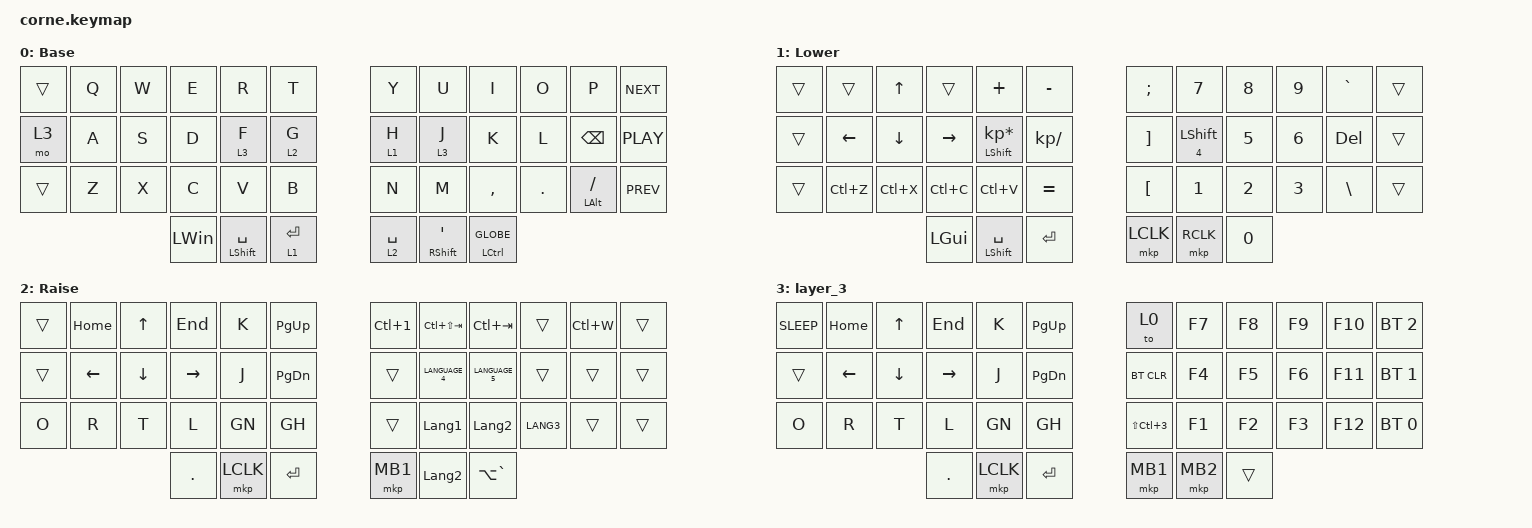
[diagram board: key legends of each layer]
/*
 * Copyright (c) 2020 The ZMK Contributors
 *
 * SPDX-License-Identifier: MIT
 */

#include <behaviors.dtsi>
#include <dt-bindings/zmk/bt.h>
#include <dt-bindings/zmk/keys.h>
#include <dt-bindings/zmk/mouse.h>

/ {
    combos {
        compatible = "zmk,combos";

        minus {
            bindings = <&kp MINUS>;
            key-positions = <21 22>;
        };

        langKREN {
            bindings = <&kp RIGHT_ALT>;
            key-positions = <32 33>;
        };

        langJP {
            bindings = <&kp LG(SPACE)>;
            key-positions = <33 34>;
        };

        bkslash {
            bindings = <&kp BACKSLASH>;
            key-positions = <34 21>;
        };

        equal {
            bindings = <&kp EQUAL>;
            key-positions = <22 34>;
        };

        tolayer0 {
            bindings = <&to 0>;
            key-positions = <6 30>;
        };

        bs {
            bindings = <&kp BACKSPACE>;
            key-positions = <10 9>;
        };

        Exclamation {
            bindings = <&kp EXCLAMATION>;
            key-positions = <38 39>;
        };

        layer1 {
            bindings = <&tog 1>;
            key-positions = <7 18>;
        };

        layer2 {
            bindings = <&tog 2>;
            key-positions = <8 18>;
        };

        layer4 {
            bindings = <&tog 3>;
            key-positions = <9 18>;
        };

        bl0 {
            bindings = <&bt BT_SEL 0>;
            key-positions = <4 17>;
        };

        bl1 {
            bindings = <&bt BT_SEL 1>;
            key-positions = <3 17>;
        };

        bl2 {
            bindings = <&bt BT_SEL 2>;
            key-positions = <2 17>;
        };

        caps {
            bindings = <&kp CAPS>;
            key-positions = <1 13>;
        };

        tab {
            bindings = <&kp TAB>;
            key-positions = <13 14>;
        };

        esc {
            bindings = <&kp ESCAPE>;
            key-positions = <2 1>;
        };

        left_BS {
            bindings = <&kp BACKSPACE>;
            key-positions = <29 28>;
        };

        right_DEL {
            bindings = <&kp DEL>;
            key-positions = <31 30>;
        };

        blt_reset {
            bindings = <&bt BT_CLR>;
            key-positions = <5 29>;
        };
    };

    macros {
        GH: GH {
            compatible = "zmk,behavior-macro";
            #binding-cells = <0>;
            bindings = <&sk G &kp H>;
            label = "GH";
        };

        GN: GN {
            compatible = "zmk,behavior-macro";
            #binding-cells = <0>;
            bindings = <&sk G &kp N>;
            label = "GN";
        };
    };

    keymap {
        compatible = "zmk,keymap";

        default_layer {
            // -----------------------------------------------------------------------------------------
            // |  TAB |  Q  |  W  |  E  |  R  |  T  |   |  Y  |  U   |  I  |  O  |  P  | BKSP |
            // | CTRL |  A  |  S  |  D  |  F  |  G  |   |  H  |  J   |  K  |  L  |  ;  |  '   |
            // | SHFT |  Z  |  X  |  C  |  V  |  B  |   |  N  |  M   |  ,  |  .  |  /  | ESC  |
            //                    | GUI | LWR | SPC |   | ENT | RSE  | ALT |

            display-name = "Base";
            bindings = <
&trans  &kp Q  &kp W  &kp E         &kp R                 &kp T          &kp Y        &kp U                 &kp I            &kp O    &kp P               &kp C_NEXT
&mo 3   &kp A  &kp S  &kp D         &lt 3 F               &lt 2 G        &lt 1 H      &lt 3 J               &kp K            &kp L    &kp BACKSPACE       &kp C_PLAY
&trans  &kp Z  &kp X  &kp C         &kp V                 &kp B          &kp N        &kp M                 &kp COMMA        &kp DOT  &mt LEFT_ALT SLASH  &kp C_PREV
                      &kp LEFT_WIN  &mt LEFT_SHIFT SPACE  &lt 1 ENTER    &lt 2 SPACE  &mt RIGHT_SHIFT APOS  &mt LCTRL GLOBE
            >;
        };

        lower_layer {
            // -----------------------------------------------------------------------------------------
            // |  TAB |  1  |  2  |  3  |  4  |  5  |   |  6  |  7  |  8  |  9  |  0  | BKSP |
            // | BTCLR| BT1 | BT2 | BT3 | BT4 | BT5 |   | LFT | DWN |  UP | RGT |     |      |
            // | SHFT |     |     |     |     |     |   |     |     |     |     |     |      |
            //                    | GUI |     | SPC |   | ENT |     | ALT |

            display-name = "Lower";
            bindings = <
&trans  &trans     &kp UP_ARROW    &trans     &kp PLUS                    &kp MINUS        &kp SEMICOLON      &kp N7                   &kp N8        &kp N9        &kp GRAVE      &trans
&trans  &kp LEFT   &kp DOWN_ARROW  &kp RIGHT  &mt LEFT_SHIFT KP_ASTERISK  &kp KP_DIVIDE    &kp RIGHT_BRACKET  &mt NUMBER_4 LEFT_SHIFT  &kp NUMBER_5  &kp NUMBER_6  &kp DEL        &trans
&trans  &kp LC(Z)  &kp LC(X)       &kp LC(C)  &kp LC(V)                   &kp EQUAL        &kp LEFT_BRACKET   &kp NUMBER_1             &kp NUMBER_2  &kp NUMBER_3  &kp BACKSLASH  &trans
                                   &kp LGUI   &mt LEFT_SHIFT SPACE        &kp ENTER        &mkp LCLK          &mkp RCLK                &kp NUMBER_0
            >;
        };

        raise_layer {
            // -----------------------------------------------------------------------------------------
            // |  TAB |  !  |  @  |  #  |  $  |  %  |   |  ^  |  &  |  *  |  (  |  )  | BKSP |
            // | CTRL |     |     |     |     |     |   |  -  |  =  |  [  |  ]  |  \  |  `   |
            // | SHFT |     |     |     |     |     |   |  _  |  +  |  {  |  }  | "|" |  ~   |
            //                    | GUI |     | SPC |   | ENT |     | ALT |

            display-name = "Raise";
            bindings = <
&trans  &kp HOME  &kp UP_ARROW  &kp END     &kp K      &kp PG_UP    &kp LC(NUMBER_1)  &kp LC(LS(TAB))  &kp LC(TAB)     &trans     &kp LC(W)  &trans
&trans  &kp LEFT  &kp DOWN      &kp RIGHT   &kp J      &kp PG_DN    &trans            &kp LANGUAGE_4   &kp LANGUAGE_5  &trans     &trans     &trans
&kp O   &kp R     &kp T         &kp L       &GN        &GH          &trans            &kp LANGUAGE_1   &kp LANGUAGE_2  &kp LANG3  &trans     &trans
                                &kp PERIOD  &mkp LCLK  &kp ENTER    &mkp MB1          &kp LANGUAGE_2   &kp LA(GRAVE)
            >;
        };

        layer_3 {
            bindings = <
&kp C_SLEEP  &kp HOME        &kp UP    &kp END     &kp K      &kp PG_UP    &to 0                 &kp F7    &kp F8  &kp F9  &kp F10  &bt BT_SEL 2
&trans       &kp LEFT_ARROW  &kp DOWN  &kp RIGHT   &kp J      &kp PG_DN    &bt BT_CLR            &kp F4    &kp F5  &kp F6  &kp F11  &bt BT_SEL 1
&kp O        &kp R           &kp T     &kp L       &GN        &GH          &kp LS(LC(NUMBER_3))  &kp F1    &kp F2  &kp F3  &kp F12  &bt BT_SEL 0
                                       &kp PERIOD  &mkp LCLK  &kp ENTER    &mkp MB1              &mkp MB2  &trans
            >;
        };
    };
};
